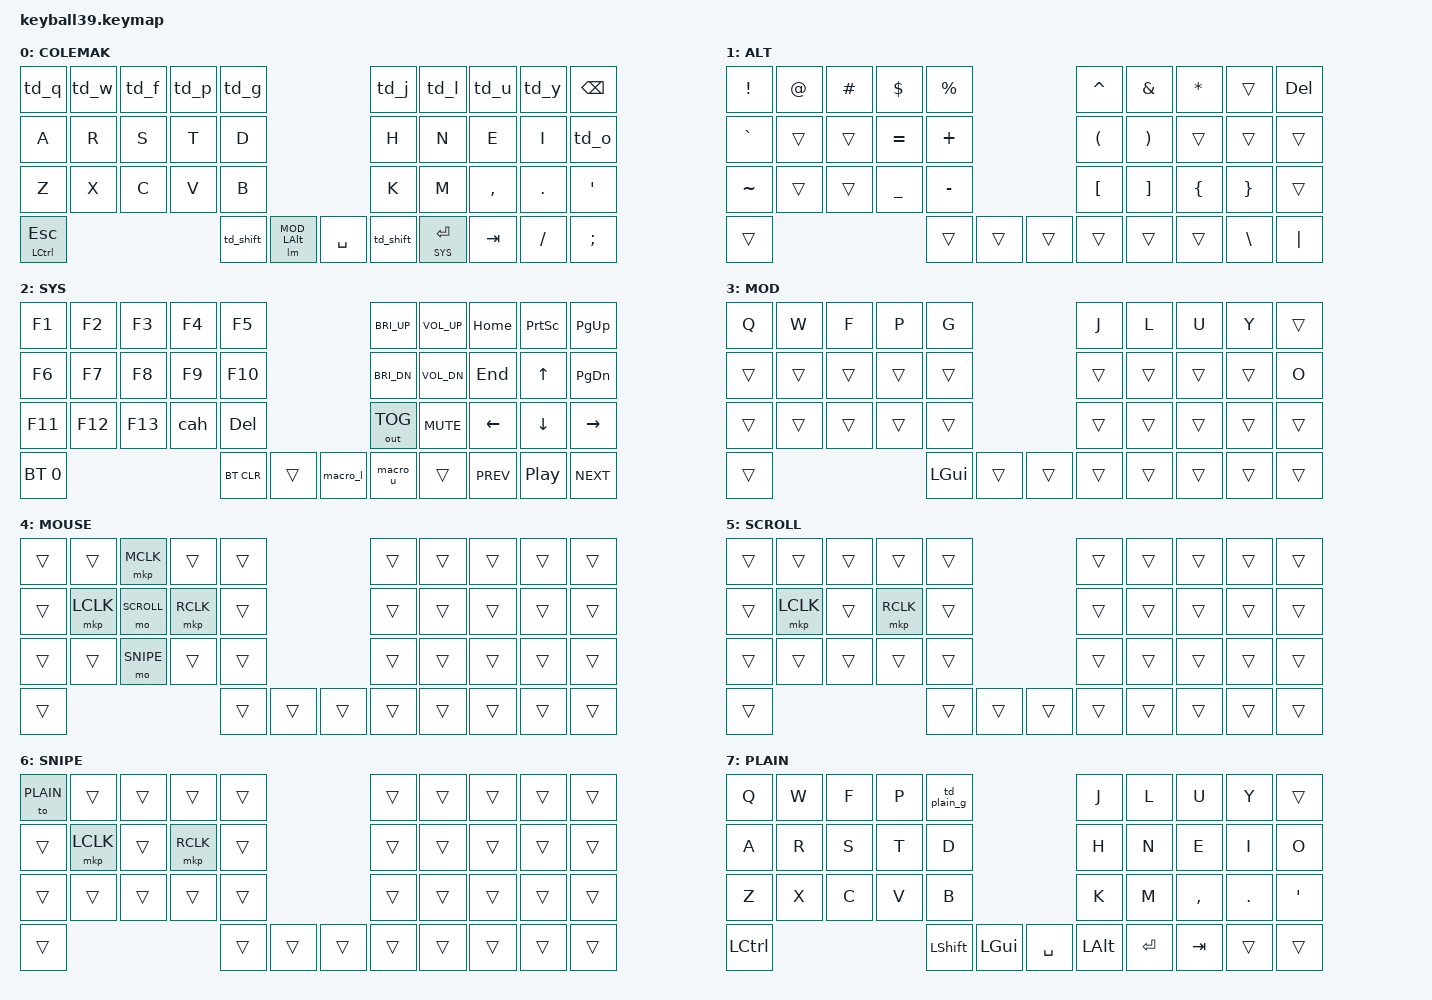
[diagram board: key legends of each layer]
#define DEFAULT 0
#define ALT     1
#define SYS     2
#define MOD     3
#define MOUSE   4
#define SCROLL  5
#define SNIPE   6
#define PLAIN   7

#include <behaviors/mouse_keys.dtsi>
#include <dt-bindings/zmk/mouse.h>
#include <behaviors.dtsi>
#include <dt-bindings/zmk/bt.h>
#include <dt-bindings/zmk/outputs.h>
#include <dt-bindings/zmk/keys.h>
#include <dt-bindings/zmk/ext_power.h>

&nice_view_spi { cs-gpios = <&pro_micro 1 GPIO_ACTIVE_HIGH>; };

&lt {
    tapping-term-ms = <160>;
    flavor = "balanced";
    quick-tap-ms = <160>;
};

&mt {
    tapping-term-ms = <160>;
    flavor = "tap-preferred";
    quick-tap-ms = <160>;
};

&caps_word { continue-list = <UNDERSCORE MINUS>; };

/ {
    behaviors {
        // Tap dances for shift keys - shift, alt, compose
        td_shift: tap_dance_shift {
            compatible = "zmk,behavior-tap-dance";
            label = "TAP_DANCE_SHIFT";
            #binding-cells = <0>;
            tapping-term-ms = <200>;
            bindings = <&kp LSHFT>, <&mo ALT>, <&kp K_APP>;
        };

        // PLAIN layer G key - g, esc, toggle out of layer
        td_plain_g: tap_dance_plain_g {
            compatible = "zmk,behavior-tap-dance";
            label = "TAP_DANCE_PLAIN_G";
            #binding-cells = <0>;
            tapping-term-ms = <160>;
            bindings = <&kp G>, <&kp ESC>, <&tog PLAIN>;
        };

        // Number row tap dances - letter on tap, number on double tap
        td_q: tap_dance_q {
            compatible = "zmk,behavior-tap-dance";
            label = "TAP_DANCE_Q";
            #binding-cells = <0>;
            tapping-term-ms = <160>;
            bindings = <&kp Q>, <&kp N1>;
        };

        td_w: tap_dance_w {
            compatible = "zmk,behavior-tap-dance";
            label = "TAP_DANCE_W";
            #binding-cells = <0>;
            tapping-term-ms = <160>;
            bindings = <&kp W>, <&kp N2>;
        };

        td_f: tap_dance_f {
            compatible = "zmk,behavior-tap-dance";
            label = "TAP_DANCE_F";
            #binding-cells = <0>;
            tapping-term-ms = <160>;
            bindings = <&kp F>, <&kp N3>;
        };

        td_p: tap_dance_p {
            compatible = "zmk,behavior-tap-dance";
            label = "TAP_DANCE_P";
            #binding-cells = <0>;
            tapping-term-ms = <160>;
            bindings = <&kp P>, <&kp N4>;
        };

        td_g: tap_dance_g {
            compatible = "zmk,behavior-tap-dance";
            label = "TAP_DANCE_G";
            #binding-cells = <0>;
            tapping-term-ms = <160>;
            bindings = <&kp G>, <&kp N5>;
        };

        td_j: tap_dance_j {
            compatible = "zmk,behavior-tap-dance";
            label = "TAP_DANCE_J";
            #binding-cells = <0>;
            tapping-term-ms = <160>;
            bindings = <&kp J>, <&kp N6>;
        };

        td_l: tap_dance_l {
            compatible = "zmk,behavior-tap-dance";
            label = "TAP_DANCE_L";
            #binding-cells = <0>;
            tapping-term-ms = <160>;
            bindings = <&kp L>, <&kp N7>;
        };

        td_u: tap_dance_u {
            compatible = "zmk,behavior-tap-dance";
            label = "TAP_DANCE_U";
            #binding-cells = <0>;
            tapping-term-ms = <160>;
            bindings = <&kp U>, <&kp N8>;
        };

        td_y: tap_dance_y {
            compatible = "zmk,behavior-tap-dance";
            label = "TAP_DANCE_Y";
            #binding-cells = <0>;
            tapping-term-ms = <160>;
            bindings = <&kp Y>, <&kp N9>;
        };

        td_o: tap_dance_o {
            compatible = "zmk,behavior-tap-dance";
            label = "TAP_DANCE_O";
            #binding-cells = <0>;
            tapping-term-ms = <160>;
            bindings = <&kp O>, <&kp N0>;
        };
    };

    macros {
        // Layer-mod macro: activates layer + sends modifier while held
        lm: lm {
            compatible = "zmk,behavior-macro-two-param";
            wait-ms = <0>;
            tap-ms = <0>;
            #binding-cells = <2>;
            bindings
                = <&macro_param_1to1>
                , <&macro_press &mo MACRO_PLACEHOLDER>
                , <&macro_param_2to1>
                , <&macro_press &kp MACRO_PLACEHOLDER>
                , <&macro_pause_for_release>
                , <&macro_param_2to1>
                , <&macro_release &kp MACRO_PLACEHOLDER>
                , <&macro_param_1to1>
                , <&macro_release &mo MACRO_PLACEHOLDER>
                ;
        };

        macro_l: macro_l {
            compatible = "zmk,behavior-macro";
            #binding-cells = <0>;
            wait-ms = <10>;
            tap-ms = <10>;
            bindings = <&kp N9 &kp LS(H) &kp N2 &kp I &kp LS(U) &kp AMPS &kp N3 &kp B &kp LS(S) &kp LS(T) &kp LS(J) &kp LS(H) &kp N3 &kp LS(P)>;
            label = "MACRO_L";
        };

        macro_u: macro_u {
            compatible = "zmk,behavior-macro";
            #binding-cells = <0>;
            wait-ms = <10>;
            tap-ms = <10>;
            bindings = <&kp T &kp O &kp O &kp R &kp N4 &kp N0 &kp N4>;
            label = "MACRO_U";
        };

        cah: ctrl_alt_hold {
            compatible = "zmk,behavior-macro";
            #binding-cells = <0>;
            bindings
                = <&macro_press &kp LCTRL>
                , <&macro_press &kp LALT>
                , <&macro_pause_for_release>
                , <&macro_release &kp LALT>
                , <&macro_release &kp LCTRL>
                ;
            label = "CTRL_ALT_HOLD";
        };
    };

    keymap {
        compatible = "zmk,keymap";

        default_layer {
            label = "COLEMAK";
            bindings = <
&td_q         &td_w &td_f &td_p &td_g                            &td_j     &td_l         &td_u     &td_y    &kp BSPC
&kp A         &kp R &kp S &kp T &kp D                            &kp H     &kp N         &kp E     &kp I    &td_o
&kp Z         &kp X &kp C &kp V &kp B                            &kp K     &kp M         &kp COMMA &kp DOT  &kp SQT
&mt LCTRL ESC                   &td_shift &lm MOD LALT &kp SPACE &td_shift &lt SYS ENTER &kp TAB   &kp FSLH &kp SEMI
            >;
        };

        alt_layer {
            label = "ALT";
            bindings = <
&kp EXCL  &kp AT &kp HASH &kp DLLR  &kp PRCNT               &kp CARET &kp AMPS &kp STAR &trans   &kp DEL
&kp GRAVE &trans &trans   &kp EQUAL &kp PLUS                &kp LPAR  &kp RPAR &trans   &trans   &trans
&kp TILDE &trans &trans   &kp UNDER &kp MINUS               &kp LBKT  &kp RBKT &kp LBRC &kp RBRC &trans
&trans                              &trans    &trans &trans &trans    &trans   &trans   &kp BSLH &kp PIPE
            >;
        };

        sys_layer {
            label = "SYS";
            // BT/USB controls live on this layer:
            //   row 3 col 6:  OUT_TOG  -- toggle USB <-> BLE host output
            bindings = <
&kp F1       &kp F2     &kp F3     &kp F4     &kp F5                     &kp C_BRI_UP &kp C_VOL_UP &kp HOME   &kp PSCRN &kp PG_UP
&kp F6       &kp F7     &kp F8     &kp F9     &kp F10                    &kp C_BRI_DN &kp C_VOL_DN &kp END    &kp UP    &kp PG_DN
&kp F11      &kp F12    &kp F13    &cah       &kp DEL                    &out OUT_TOG &kp C_MUTE   &kp LEFT   &kp DOWN  &kp RIGHT
&bt BT_SEL 0                                  &bt BT_CLR &trans &macro_l &macro_u     &trans       &kp C_PREV &kp C_PP  &kp C_NEXT
            >;
        };

        mod_layer {
            label = "MOD";
            bindings = <
&kp Q  &kp W  &kp F  &kp P  &kp G                  &kp J  &kp L  &kp U  &kp Y  &trans
&trans &trans &trans &trans &trans                 &trans &trans &trans &trans &kp O
&trans &trans &trans &trans &trans                 &trans &trans &trans &trans &trans
&trans                      &kp LGUI &trans &trans &trans &trans &trans &trans &trans
            >;
        };

        mouse_layer {
            label = "MOUSE";
            bindings = <
&trans &trans    &mkp MCLK  &trans    &trans               &trans &trans &trans &trans &trans
&trans &mkp LCLK &mo SCROLL &mkp RCLK &trans               &trans &trans &trans &trans &trans
&trans &trans    &mo SNIPE  &trans    &trans               &trans &trans &trans &trans &trans
&trans                                &trans &trans &trans &trans &trans &trans &trans &trans
            >;
        };

        scroll_layer {
            label = "SCROLL";
            bindings = <
&trans  &trans    &trans &trans    &trans                  &trans  &trans  &trans  &trans  &trans
&trans  &mkp LCLK &trans &mkp RCLK &trans                  &trans  &trans  &trans  &trans  &trans
&trans  &trans    &trans &trans    &trans                  &trans  &trans  &trans  &trans  &trans
&trans                             &trans  &trans  &trans  &trans  &trans  &trans  &trans  &trans
            >;
        };

        snipe_layer {
            label = "SNIPE";
            bindings = <
&to PLAIN &trans    &trans  &trans   &trans                  &trans  &trans  &trans  &trans  &trans
&trans    &mkp LCLK &trans &mkp RCLK &trans                  &trans  &trans  &trans  &trans  &trans
&trans    &trans    &trans  &trans   &trans                  &trans  &trans  &trans  &trans  &trans
&trans                               &trans  &trans  &trans  &trans  &trans  &trans  &trans  &trans
            >;
        };

        plain_layer {
            label = "PLAIN";
            bindings = <
&kp Q     &kp W  &kp F &kp P &td_plain_g                    &kp J    &kp L     &kp U      &kp Y    &trans
&kp A     &kp R  &kp S &kp T &kp D                          &kp H    &kp N     &kp E      &kp I    &kp O
&kp Z     &kp X  &kp C &kp V &kp B                          &kp K    &kp M     &kp COMMA  &kp DOT  &kp SQT
&kp LCTRL                    &kp LSHFT   &kp LGUI &kp SPACE &kp LALT &kp ENTER &kp TAB    &trans   &trans
            >;
        };
    };
};
